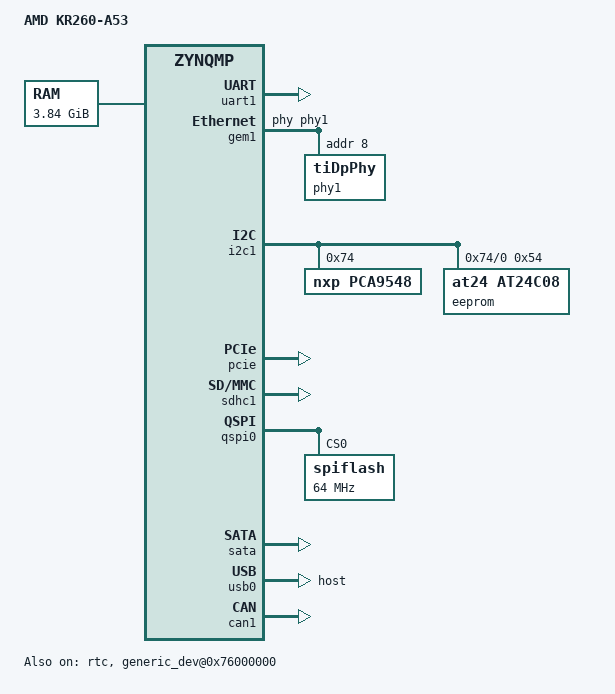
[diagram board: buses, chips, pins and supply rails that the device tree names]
/* amd-zcu102-rev1.1.dts - AMD ZCU102 Evaluation Kit Rev 1.1 device tree source */

/*
 * Copyright (c) 2018-2021, 2024 Wind River Systems, Inc.
 *
 * This file is licensed under the Creative Commons CC0 1.0 Universal Public
 * Domain Dedication License (CC0-1.0). You may obtain a copy of the License
 * at:
 *     https://creativecommons.org/publicdomain/zero/1.0/
 * Unless required by applicable law or agreed to in writing, software
 * distributed under the License is distributed on an "AS IS" BASIS,
 * WITHOUT WARRANTIES OR CONDITIONS OF ANY KIND, either express or implied.
 */

 /*
  *  This version gives the UART and Ethernet to the A53 cores for benchmark purposes (no network)
  */

/dts-v1/;

#include "zynqmp.dtsi"

/   {
    model = "AMD KR260-A53";

    aliases
        {
        serial0 = &uart1;
        ethernet0 = &gem0;
        };

    memory@0
        {
        device_type = "memory";
        reg = <0x0 0x00000000 0x0 0x76000000>,
              <0x8 0x00000000 0x0 0x80000000>;
        };

    generic_dev@0x76000000
        {
        compatible = "fdt,generic-dev";
        reg = <0x0 0x76000000 0x0 0x02000000>;
        status = "okay";
        };

    chosen
        {
        bootargs = "gem(0,0)host:vxWorks h=192.168.12.51 e=192.168.12.32:ffffff00 g=192.168.12.1 u=target pw=vxTarget";
        stdout-path = "serial0";
        };
    };


&ps_ref_clk
    {
    clock-frequency = <33330000>;
    };

&uart1
    {
    status = "okay";
    };

&pmu0
    {
    status = "okay";
    };

&rtc
    {
    calibration = <0x7ffc>;
    status = "okay";
    };

&gem1
    {
    status = "okay";
    phy-handle = <&phy1>;

    phy1: ethernet-phy@c
        {
        compatible = "tiDpPhy";

        reg = <0x08>;
        rgmii-delay = <0x3>;
        rx-internal-delay = <0x8>;
        tx-internal-delay = <0xa>;
        fifo-depth = <0x1>;
        };
    };

&i2c1
    {
    status = "okay";
    pca9548@74
        {
        compatible = "nxp,pca9548";
        reg = <0x74>;
        #address-cells = <1>;
        #size-cells = <0>;

        i2c@0
            {
            #address-cells = <1>;
            #size-cells = <0>;
            reg = <0x0>;

            eeprom@54
                {
                compatible = "at24, at24c08";
                reg = <0x54>;
                data-scl-frequency = <400000>;
                };
            };
        };
    };

&gpio
    {
    status = "okay";
    };

&pcie
    {
    status = "okay";
    };

&sdhc1
    {
    status = "okay";
    };

&qspi0_mux
    {
    pin-set = <
    0 0x02ffffff    /* QSPI Clock */
    1 0x02ffffff    /* QSPI Databus */
    2 0x02ffffff    /* QSPI Databus */
    3 0x02ffffff    /* QSPI Databus */
    4 0x02ffffff    /* QSPI Databus */
    5 0x02ffffff    /* QSPI Slave Select */
    6 0x02ffffff    /* QSPI Clock to be fed-back */
    7 0x02ffffff    /* QSPI Slave Select upper */
    8 0x02ffffff    /* QSPI Upper Databus */
    9 0x02ffffff    /* QSPI Upper Databus */
    10 0x02ffffff   /* QSPI Upper Databus */
    11 0x02ffffff   /* QSPI Upper Databus */
    12 0x02ffffff   /* QSPI Upper Clock */
    >;
    };

&qspi0
    {
    status = "okay";

    spiflash@0
        {
        compatible = "spiflash";
        reg = <0>;

        /*
         * mode |= 0x80, two or more SPI devices are connected in
         * parallel, only verified two flashes connected in parallel
         */

        mode = <0x180>;
        chip-number = <2>;
        data-lines = <4>;

        /*
         * Note:
         * spi-max-frequency is used to configure the flash running
         * frequency.
         */

        spi-max-frequency = <64000000>;
        };
    };

&lpd_dma
    {
    status = "okay";
    };

&fpd_dma
    {
    status = "okay";
    };

&sata
    {
    status = "okay";
    /* SATA OOB timing settings */
    ceva,p0-cominit-params = <0x28184018>;
    ceva,p0-comwake-params = <0x0e081406>;
    ceva,p0-burst-params   = <0x064a0813>;
    ceva,p0-retry-params   = <0x3ffc96a4>;
    ceva,p1-cominit-params = <0x28184d1b>;
    ceva,p1-comwake-params = <0x0e081906>;
    ceva,p1-burst-params   = <0x064a0813>;
    ceva,p1-retry-params   = <0x3ffc96a4>;
    };

&usb0
    {
    status = "okay";
    dr_mode = "host";
    };

&can1_mux
    {
    pin-set = <
    24 0x20ffffff
    25 0x20ffffff
    >;
    };

&can0
    {
    /*
     * zynqmp has 2 CAN controllers, but the zcu102 evaluation board
     * only has 1 CAN transceiver, which is connected to controller
     * can1. Make can0 disabled by default.
     */
    status = "disabled";
    };

&can1
    {
    status = "okay";
    };
